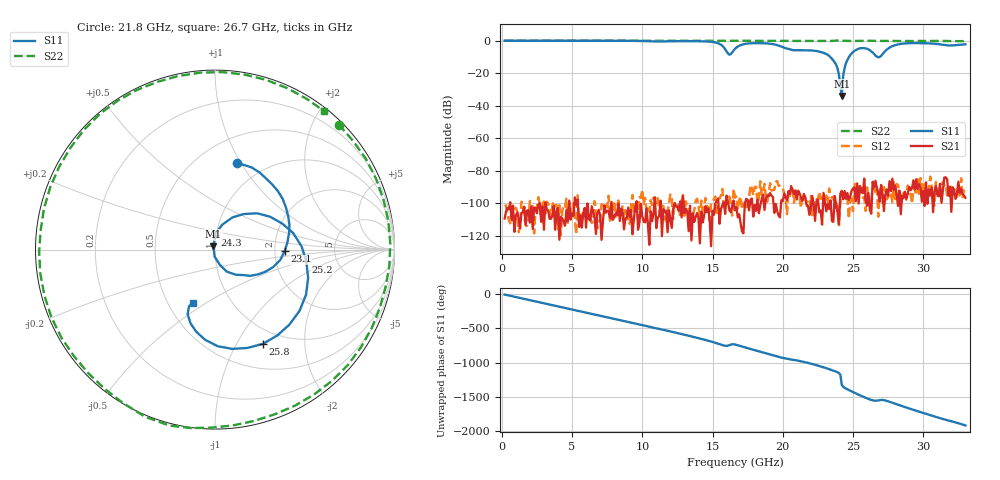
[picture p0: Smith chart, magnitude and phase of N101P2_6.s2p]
# GHZ S RI R 50
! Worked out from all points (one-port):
!   329 points, 200 MHz to 33 GHz, reference 50 ohm
!   lowest |S11| = -33.9 dB at 24.2 GHz (marker M1), VSWR 1.04, Z = 49.1 + j1.75 ohm
!   |S11| at or under -10 dB: 23.37 GHz to 24.71 GHz (1.345 GHz wide, 5.6 % of centre); 26.73 GHz to 26.91 GHz (172.4 MHz wide, 0.643 % of centre)
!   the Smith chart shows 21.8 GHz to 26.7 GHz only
!   S11 on the Smith chart (normalised r, x): 21.8 GHz: 0.75, +0.96; 23.1 GHz: 2.27, -0.05; 24.3 GHz: 0.99, +0.16; 25.2 GHz: 3.00, -0.54; 25.8 GHz: 0.80, -1.29; 26.7 GHz: 0.66, -0.44
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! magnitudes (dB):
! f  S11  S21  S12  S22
! 200 MHz  0.0  -109.3  -101.7  0.0
! 5.7 GHz  0.0  -114.9  -104.8  -0.1
! 11.2 GHz  -0.5  -107.9  -103.5  -0.1
! 15.1 GHz  -1.0  -107.0  -97.5  -0.1
! 15.7 GHz  -3.2  -101.1  -91.2  -0.1
! 16.2 GHz  -8.6  -104.2  -95.8  -0.1
! 16.6 GHz  -5.0  -104.3  -96.4  -0.1
! 18.4 GHz  -1.5  -101.2  -86.4  -0.2
! 21.8 GHz  -6.0  -101.5  -99.0  -0.2
! 22.1 GHz  -6.1  -95.5  -107.3  -0.2
! 23.1 GHz  -8.2  -104.9  -95.2  -0.2
! 23.9 GHz  -17.1  -105.8  -99.2  0.1
! 24 GHz  -21.0  -112.9  -113.4  0.1
! 24.2 GHz  -33.9  -92.3  -98.0  -0.1
! 24.3 GHz  -21.6  -97.5  -98.8  -0.1
! 24.6 GHz  -11.9  -93.6  -96.6  -0.1
! 25.2 GHz  -5.8  -98.7  -86.5  -0.2
! 25.8 GHz  -4.6  -84.7  -96.1  -0.1
! 26.7 GHz  -9.9  -90.9  -89.8  -0.2
! 27.6 GHz  -4.3  -86.3  -93.8  -0.2
! 28.9 GHz  -1.6  -93.9  -89.0  -0.2
! 33 GHz  -2.2  -96.6  -91.5  -0.2
